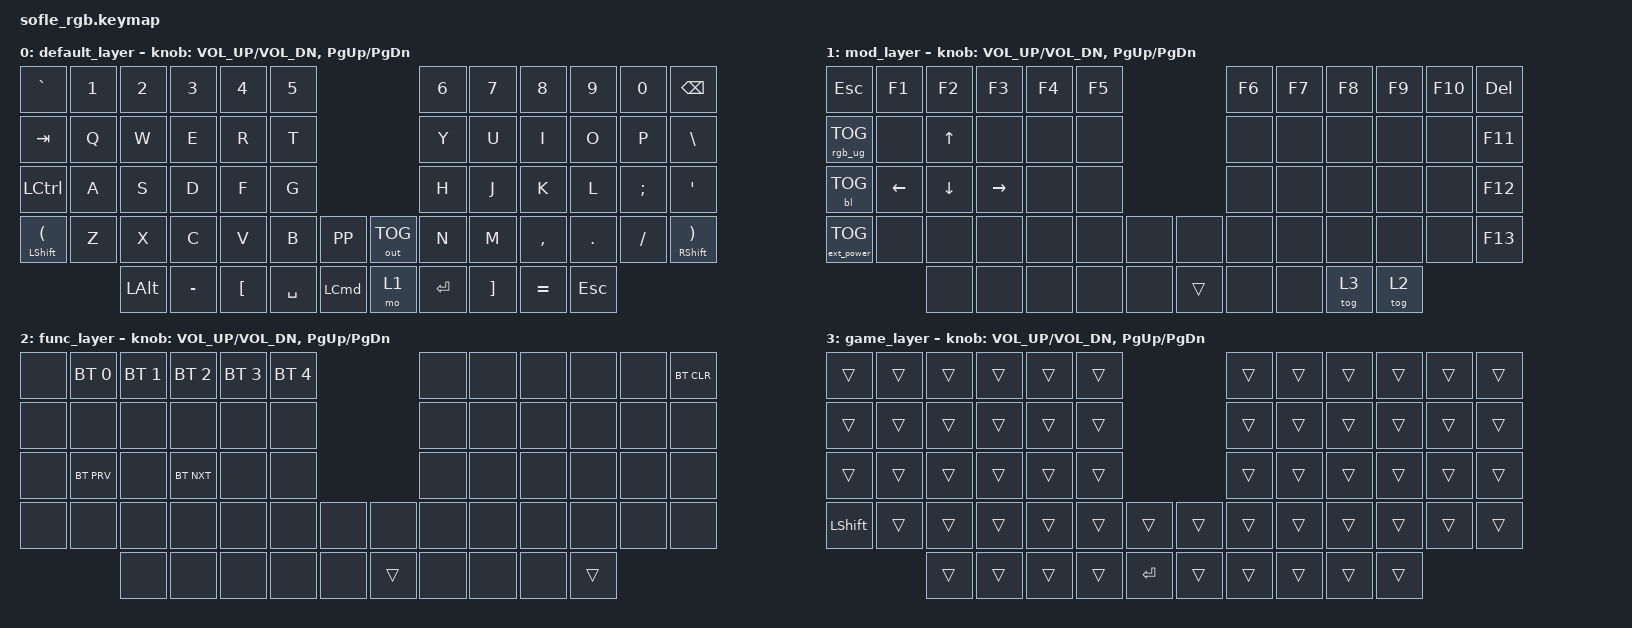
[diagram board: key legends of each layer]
#include <behaviors.dtsi>
#include <dt-bindings/zmk/keys.h>
#include <dt-bindings/zmk/bt.h>
#include <dt-bindings/zmk/outputs.h>
#include <dt-bindings/zmk/rgb.h>
#include <dt-bindings/zmk/backlight.h>
#include <dt-bindings/zmk/ext_power.h>

/ {
  keymap {
    compatible = "zmk,keymap";

    default_layer {
      bindings = <
        &kp GRAVE       &kp N1   &kp N2    &kp N3    &kp N4   &kp N5                          &kp N6  &kp N7   &kp N8    &kp N9  &kp N0    &kp BACKSPACE
        &kp TAB         &kp Q    &kp W     &kp E     &kp R    &kp T                           &kp Y   &kp U    &kp I     &kp O   &kp P     &kp BACKSLASH
        &kp LCTRL       &kp A    &kp S     &kp D     &kp F    &kp G                           &kp H   &kp J    &kp K     &kp L   &kp SEMI  &kp SINGLE_QUOTE
        &mt LSHIFT LPAR &kp Z    &kp X     &kp C     &kp V    &kp B     &kp K_PP &out OUT_TOG &kp N   &kp M    &kp COMMA &kp DOT &kp SLASH &mt RSHIFT RPAR
                                 &kp LALT  &kp MINUS &kp LBKT &kp SPACE &kp LCMD &mo 1        &kp RET &kp RBKT &kp EQUAL &kp ESC
      >;

      sensor-bindings = <&inc_dec_kp C_VOL_UP C_VOL_DN &inc_dec_kp PG_UP PG_DN>;
    };

    mod_layer {
      bindings = <
        &kp ESC            &kp F1   &kp F2   &kp F3    &kp F4 &kp F5             &kp F6 &kp F7 &kp F8  &kp F9 &kp F10 &kp DELETE
        &rgb_ug RGB_TOG    &none    &kp UP   &none     &none  &none              &none  &none  &none   &none  &none   &kp F11
        &bl BL_TOG         &kp LEFT &kp DOWN &kp RIGHT &none  &none              &none  &none  &none   &none  &none   &kp F12
        &ext_power EP_TOG  &none    &none    &none     &none  &none &none &none  &none  &none  &none   &none  &none   &kp F13
                                    &none    &none     &none  &none &none &trans &none  &none  &tog 3  &tog 2
      >;

      sensor-bindings = <&inc_dec_kp C_VOL_UP C_VOL_DN &inc_dec_kp PG_UP PG_DN>;
    };

    func_layer {
      bindings = <
        &none &bt BT_SEL 0 &bt BT_SEL 1     &bt BT_SEL 2 &bt BT_SEL 3 &bt BT_SEL 4              &none &none &none &none  &none &bt BT_CLR
        &none &none        &none            &none        &none        &none                     &none &none &none &none  &none &none
        &none &bt BT_PRV   &none            &bt BT_NXT   &none        &none                     &none &none &none &none  &none &none
        &none &none        &none            &none        &none        &none        &none &none  &none &none &none &none  &none &none
                           &none            &none        &none        &none        &none &trans &none &none &none &trans
      >;

      sensor-bindings = <&inc_dec_kp C_VOL_UP C_VOL_DN &inc_dec_kp PG_UP PG_DN>;
    };

    game_layer {
      bindings = <
        &trans     &trans &trans &trans &trans &trans                &trans &trans &trans &trans &trans &trans
        &trans     &trans &trans &trans &trans &trans                &trans &trans &trans &trans &trans &trans
        &trans     &trans &trans &trans &trans &trans                &trans &trans &trans &trans &trans &trans
        &kp LSHIFT &trans &trans &trans &trans &trans &trans  &trans &trans &trans &trans &trans &trans &trans
                          &trans &trans &trans &trans &kp RET &trans &trans &trans &trans &trans
      >;

      sensor-bindings = <&inc_dec_kp C_VOL_UP C_VOL_DN &inc_dec_kp PG_UP PG_DN>;
    };

  };
};

// layer sample
//         &none &none &none &none &none &none             &none &none &none &none &none &none
//         &none &none &none &none &none &none             &none &none &none &none &none &none
//         &none &none &none &none &none &none             &none &none &none &none &none &none
//         &none &none &none &none &none &none &none &none &none &none &none &none &none &none
//                     &none &none &none &none &none &none &none &none &none &none
